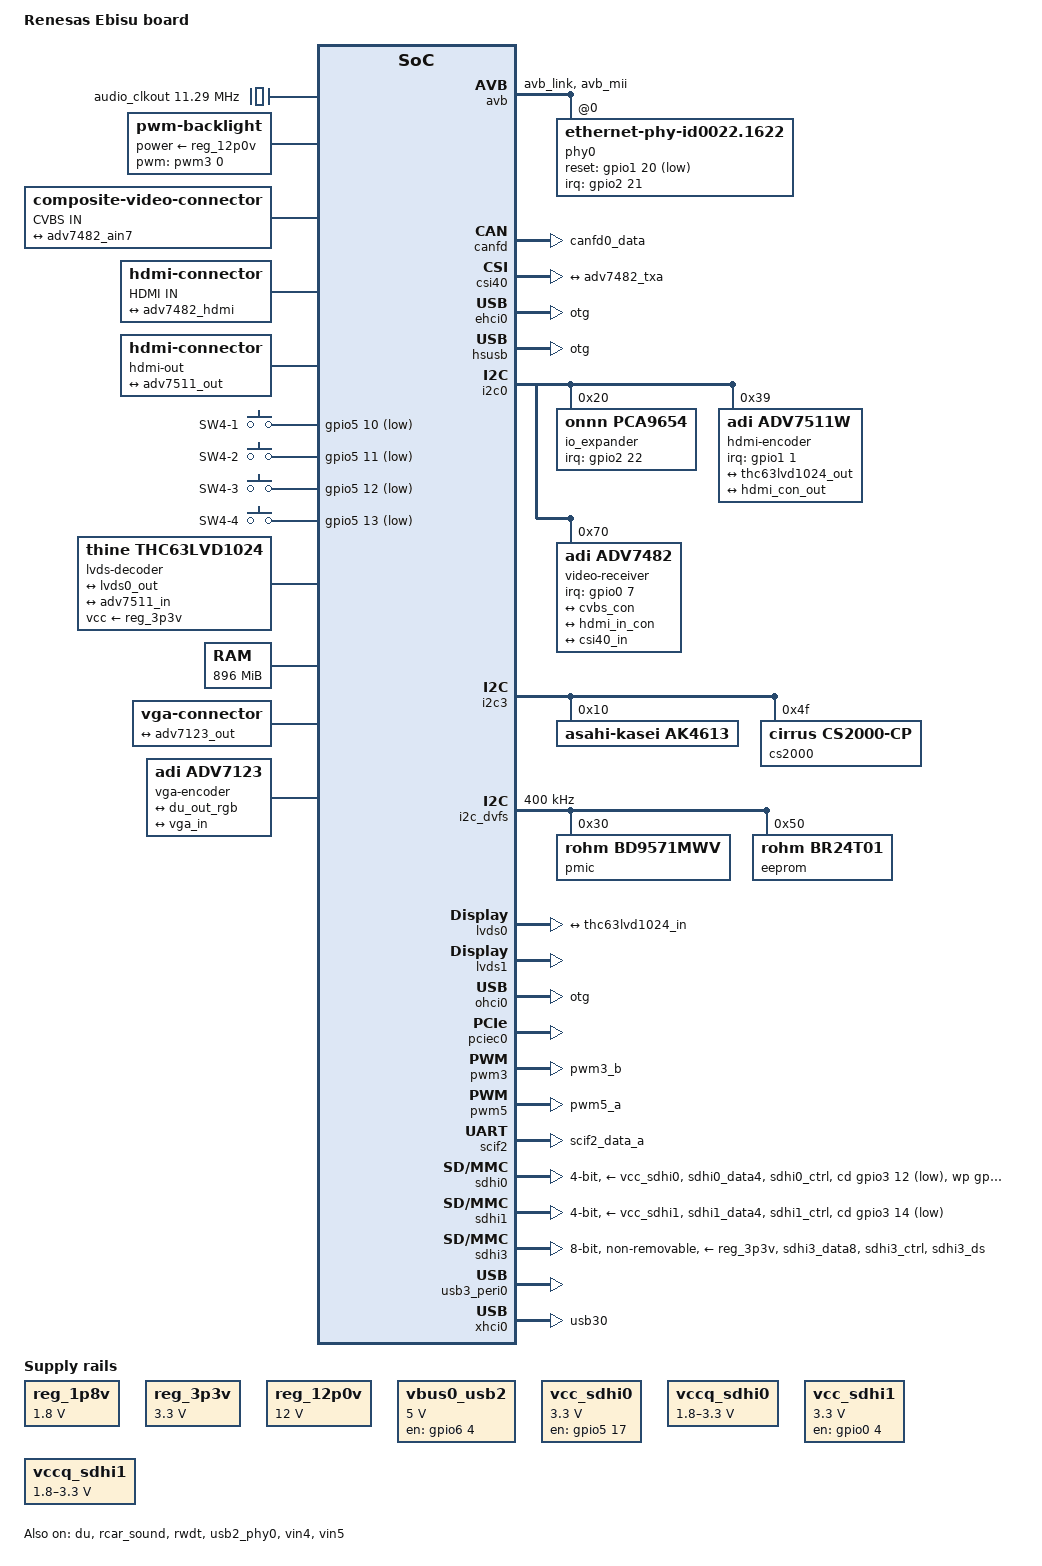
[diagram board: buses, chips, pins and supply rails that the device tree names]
// SPDX-License-Identifier: GPL-2.0
/*
 * Device Tree Source for the Ebisu board
 *
 * Copyright (C) 2018 Renesas Electronics Corp.
 */

#include <dt-bindings/gpio/gpio.h>
#include <dt-bindings/input/input.h>

/ {
	model = "Renesas Ebisu board";
	compatible = "renesas,ebisu";

	aliases {
		serial0 = &scif2;
		ethernet0 = &avb;
		mmc0 = &sdhi3;
		mmc1 = &sdhi0;
		mmc2 = &sdhi1;
	};

	chosen {
		bootargs = "ignore_loglevel rw root=/dev/nfs ip=on";
		stdout-path = "serial0:115200n8";
	};

	audio_clkout: audio-clkout {
		/*
		 * This is same as <&rcar_sound 0>
		 * but needed to avoid cs2000/rcar_sound probe dead-lock
		 */
		compatible = "fixed-clock";
		#clock-cells = <0>;
		clock-frequency = <11289600>;
	};

	backlight: backlight {
		compatible = "pwm-backlight";
		pwms = <&pwm3 0 50000>;

		brightness-levels = <512 511 505 494 473 440 392 327 241 133 0>;
		default-brightness-level = <10>;

		power-supply = <&reg_12p0v>;
	};

	cvbs-in {
		compatible = "composite-video-connector";
		label = "CVBS IN";

		port {
			cvbs_con: endpoint {
				remote-endpoint = <&adv7482_ain7>;
			};
		};
	};

	hdmi-in {
		compatible = "hdmi-connector";
		label = "HDMI IN";
		type = "a";

		port {
			hdmi_in_con: endpoint {
				remote-endpoint = <&adv7482_hdmi>;
			};
		};
	};

	hdmi-out {
		compatible = "hdmi-connector";
		type = "a";

		port {
			hdmi_con_out: endpoint {
				remote-endpoint = <&adv7511_out>;
			};
		};
	};

	keys {
		compatible = "gpio-keys";

		pinctrl-0 = <&keys_pins>;
		pinctrl-names = "default";

		key-1 {
			gpios = <&gpio5 10 GPIO_ACTIVE_LOW>;
			linux,code = <KEY_1>;
			label = "SW4-1";
			wakeup-source;
			debounce-interval = <20>;
		};
		key-2 {
			gpios = <&gpio5 11 GPIO_ACTIVE_LOW>;
			linux,code = <KEY_2>;
			label = "SW4-2";
			wakeup-source;
			debounce-interval = <20>;
		};
		key-3 {
			gpios = <&gpio5 12 GPIO_ACTIVE_LOW>;
			linux,code = <KEY_3>;
			label = "SW4-3";
			wakeup-source;
			debounce-interval = <20>;
		};
		key-4 {
			gpios = <&gpio5 13 GPIO_ACTIVE_LOW>;
			linux,code = <KEY_4>;
			label = "SW4-4";
			wakeup-source;
			debounce-interval = <20>;
		};
	};

	lvds-decoder {
		compatible = "thine,thc63lvd1024";
		vcc-supply = <&reg_3p3v>;

		ports {
			#address-cells = <1>;
			#size-cells = <0>;

			port@0 {
				reg = <0>;
				thc63lvd1024_in: endpoint {
					remote-endpoint = <&lvds0_out>;
				};
			};

			port@2 {
				reg = <2>;
				thc63lvd1024_out: endpoint {
					remote-endpoint = <&adv7511_in>;
				};
			};
		};
	};

	memory@48000000 {
		device_type = "memory";
		/* first 128MB is reserved for secure area. */
		reg = <0x0 0x48000000 0x0 0x38000000>;
	};

	reg_1p8v: regulator0 {
		compatible = "regulator-fixed";
		regulator-name = "fixed-1.8V";
		regulator-min-microvolt = <1800000>;
		regulator-max-microvolt = <1800000>;
		regulator-boot-on;
		regulator-always-on;
	};

	reg_3p3v: regulator1 {
		compatible = "regulator-fixed";
		regulator-name = "fixed-3.3V";
		regulator-min-microvolt = <3300000>;
		regulator-max-microvolt = <3300000>;
		regulator-boot-on;
		regulator-always-on;
	};

	reg_12p0v: regulator2 {
		compatible = "regulator-fixed";
		regulator-name = "D12.0V";
		regulator-min-microvolt = <12000000>;
		regulator-max-microvolt = <12000000>;
		regulator-boot-on;
		regulator-always-on;
	};

	rsnd_ak4613: sound {
		compatible = "simple-audio-card";

		simple-audio-card,name = "rsnd-ak4613";
		simple-audio-card,format = "left_j";
		simple-audio-card,bitclock-master = <&sndcpu>;
		simple-audio-card,frame-master = <&sndcpu>;

		sndcodec: simple-audio-card,codec {
			sound-dai = <&ak4613>;
		};

		sndcpu: simple-audio-card,cpu {
			sound-dai = <&rcar_sound>;
		};
	};

	vbus0_usb2: regulator-vbus0-usb2 {
		compatible = "regulator-fixed";

		regulator-name = "USB20_VBUS_CN";
		regulator-min-microvolt = <5000000>;
		regulator-max-microvolt = <5000000>;

		gpio = <&gpio6 4 GPIO_ACTIVE_HIGH>;
		enable-active-high;
	};

	vcc_sdhi0: regulator-vcc-sdhi0 {
		compatible = "regulator-fixed";

		regulator-name = "SDHI0 Vcc";
		regulator-min-microvolt = <3300000>;
		regulator-max-microvolt = <3300000>;

		gpio = <&gpio5 17 GPIO_ACTIVE_HIGH>;
		enable-active-high;
	};

	vccq_sdhi0: regulator-vccq-sdhi0 {
		compatible = "regulator-gpio";

		regulator-name = "SDHI0 VccQ";
		regulator-min-microvolt = <1800000>;
		regulator-max-microvolt = <3300000>;

		gpios = <&gpio5 18 GPIO_ACTIVE_HIGH>;
		gpios-states = <1>;
		states = <3300000 1>, <1800000 0>;
	};

	vcc_sdhi1: regulator-vcc-sdhi1 {
		compatible = "regulator-fixed";

		regulator-name = "SDHI1 Vcc";
		regulator-min-microvolt = <3300000>;
		regulator-max-microvolt = <3300000>;

		gpio = <&gpio0 4 GPIO_ACTIVE_HIGH>;
		enable-active-high;
	};

	vccq_sdhi1: regulator-vccq-sdhi1 {
		compatible = "regulator-gpio";

		regulator-name = "SDHI1 VccQ";
		regulator-min-microvolt = <1800000>;
		regulator-max-microvolt = <3300000>;

		gpios = <&gpio3 15 GPIO_ACTIVE_HIGH>;
		gpios-states = <1>;
		states = <3300000 1>, <1800000 0>;
	};

	vga {
		compatible = "vga-connector";

		port {
			vga_in: endpoint {
				remote-endpoint = <&adv7123_out>;
			};
		};
	};

	vga-encoder {
		compatible = "adi,adv7123";

		ports {
			#address-cells = <1>;
			#size-cells = <0>;

			port@0 {
				reg = <0>;
				adv7123_in: endpoint {
					remote-endpoint = <&du_out_rgb>;
				};
			};
			port@1 {
				reg = <1>;
				adv7123_out: endpoint {
					remote-endpoint = <&vga_in>;
				};
			};
		};
	};

	x12_clk: x12 {
		compatible = "fixed-clock";
		#clock-cells = <0>;
		clock-frequency = <24576000>;
	};

	x13_clk: x13 {
		compatible = "fixed-clock";
		#clock-cells = <0>;
		clock-frequency = <74250000>;
	};
};

&audio_clk_a {
	clock-frequency = <22579200>;
};

&avb {
	pinctrl-0 = <&avb_pins>;
	pinctrl-names = "default";
	phy-handle = <&phy0>;
	status = "okay";

	phy0: ethernet-phy@0 {
		compatible = "ethernet-phy-id0022.1622",
			     "ethernet-phy-ieee802.3-c22";
		rxc-skew-ps = <1500>;
		reg = <0>;
		interrupt-parent = <&gpio2>;
		interrupts = <21 IRQ_TYPE_LEVEL_LOW>;
		reset-gpios = <&gpio1 20 GPIO_ACTIVE_LOW>;
		/*
		 * TX clock internal delay mode is required for reliable
		 * 1Gbps communication using the KSZ9031RNX phy present on
		 * the Ebisu board, however, TX clock internal delay mode
		 * isn't supported on R-Car E3(e).  Thus, limit speed to
		 * 100Mbps for reliable communication.
		 */
		max-speed = <100>;
	};
};

&canfd {
	pinctrl-0 = <&canfd0_pins>;
	pinctrl-names = "default";
	status = "okay";

	channel0 {
		status = "okay";
	};
};

&csi40 {
	status = "okay";

	ports {
		port@0 {
			csi40_in: endpoint {
				clock-lanes = <0>;
				data-lanes = <1 2>;
				remote-endpoint = <&adv7482_txa>;
			};
		};
	};
};

&du {
	pinctrl-0 = <&du_pins>;
	pinctrl-names = "default";
	status = "okay";

	clocks = <&cpg CPG_MOD 724>,
		 <&cpg CPG_MOD 723>,
		 <&x13_clk>;
	clock-names = "du.0", "du.1", "dclkin.0";

	ports {
		port@0 {
			endpoint {
				remote-endpoint = <&adv7123_in>;
			};
		};
	};
};

&ehci0 {
	dr_mode = "otg";
	status = "okay";
};

&extal_clk {
	clock-frequency = <48000000>;
};

&hsusb {
	dr_mode = "otg";
	status = "okay";
};

&i2c0 {
	status = "okay";

	io_expander: gpio@20 {
		compatible = "onnn,pca9654";
		reg = <0x20>;
		gpio-controller;
		#gpio-cells = <2>;
		interrupt-parent = <&gpio2>;
		interrupts = <22 IRQ_TYPE_LEVEL_LOW>;
	};

	hdmi-encoder@39 {
		compatible = "adi,adv7511w";
		reg = <0x39>;
		interrupt-parent = <&gpio1>;
		interrupts = <1 IRQ_TYPE_LEVEL_LOW>;

		adi,input-depth = <8>;
		adi,input-colorspace = "rgb";
		adi,input-clock = "1x";

		ports {
			#address-cells = <1>;
			#size-cells = <0>;

			port@0 {
				reg = <0>;
				adv7511_in: endpoint {
					remote-endpoint = <&thc63lvd1024_out>;
				};
			};

			port@1 {
				reg = <1>;
				adv7511_out: endpoint {
					remote-endpoint = <&hdmi_con_out>;
				};
			};
		};
	};

	video-receiver@70 {
		compatible = "adi,adv7482";
		reg = <0x70>;

		interrupt-parent = <&gpio0>;
		interrupt-names = "intrq1", "intrq2";
		interrupts = <7 IRQ_TYPE_LEVEL_LOW>,
			     <17 IRQ_TYPE_LEVEL_LOW>;

		ports {
			#address-cells = <1>;
			#size-cells = <0>;

			port@7 {
				reg = <7>;

				adv7482_ain7: endpoint {
					remote-endpoint = <&cvbs_con>;
				};
			};

			port@8 {
				reg = <8>;

				adv7482_hdmi: endpoint {
					remote-endpoint = <&hdmi_in_con>;
				};
			};

			port@a {
				reg = <10>;

				adv7482_txa: endpoint {
					clock-lanes = <0>;
					data-lanes = <1 2>;
					remote-endpoint = <&csi40_in>;
				};
			};
		};
	};
};

&i2c3 {
	status = "okay";

	ak4613: codec@10 {
		compatible = "asahi-kasei,ak4613";
		#sound-dai-cells = <0>;
		reg = <0x10>;
		clocks = <&rcar_sound 3>;

		asahi-kasei,in1-single-end;
		asahi-kasei,in2-single-end;
		asahi-kasei,out1-single-end;
		asahi-kasei,out2-single-end;
		asahi-kasei,out3-single-end;
		asahi-kasei,out4-single-end;
		asahi-kasei,out5-single-end;
		asahi-kasei,out6-single-end;
	};

	cs2000: clk-multiplier@4f {
		#clock-cells = <0>;
		compatible = "cirrus,cs2000-cp";
		reg = <0x4f>;
		clocks = <&audio_clkout>, <&x12_clk>;
		clock-names = "clk_in", "ref_clk";

		assigned-clocks = <&cs2000>;
		assigned-clock-rates = <24576000>; /* 1/1 divide */
	};
};

&i2c_dvfs {
	status = "okay";

	clock-frequency = <400000>;

	pmic: pmic@30 {
		pinctrl-0 = <&irq0_pins>;
		pinctrl-names = "default";

		compatible = "rohm,bd9571mwv";
		reg = <0x30>;
		interrupt-parent = <&intc_ex>;
		interrupts = <0 IRQ_TYPE_LEVEL_LOW>;
		interrupt-controller;
		#interrupt-cells = <2>;
		gpio-controller;
		#gpio-cells = <2>;
		rohm,ddr-backup-power = <0x1>;
		rohm,rstbmode-level;
	};

	eeprom@50 {
		compatible = "rohm,br24t01", "atmel,24c01";
		reg = <0x50>;
		pagesize = <8>;
	};
};

&lvds0 {
	status = "okay";

	clocks = <&cpg CPG_MOD 727>,
		 <&x13_clk>,
		 <&extal_clk>;
	clock-names = "fck", "dclkin.0", "extal";

	ports {
		port@1 {
			lvds0_out: endpoint {
				remote-endpoint = <&thc63lvd1024_in>;
			};
		};
	};
};

&lvds1 {
	/*
	 * Even though the LVDS1 output is not connected, the encoder must be
	 * enabled to supply a pixel clock to the DU for the DPAD output when
	 * LVDS0 is in use.
	 */
	status = "okay";

	clocks = <&cpg CPG_MOD 727>,
		 <&x13_clk>,
		 <&extal_clk>;
	clock-names = "fck", "dclkin.0", "extal";
};

&ohci0 {
	dr_mode = "otg";
	status = "okay";
};

&pcie_bus_clk {
	clock-frequency = <100000000>;
};

&pciec0 {
	status = "okay";
};

&pfc {
	avb_pins: avb {
		groups = "avb_link", "avb_mii";
		function = "avb";
	};

	canfd0_pins: canfd0 {
		groups = "canfd0_data";
		function = "canfd0";
	};

	du_pins: du {
		groups = "du_rgb888", "du_sync", "du_disp", "du_clk_out_0";
		function = "du";
	};

	irq0_pins: irq0 {
		groups = "intc_ex_irq0";
		function = "intc_ex";
	};

	keys_pins: keys {
		pins = "GP_5_10", "GP_5_11", "GP_5_12", "GP_5_13";
		bias-pull-up;
	};

	pwm3_pins: pwm3 {
		groups = "pwm3_b";
		function = "pwm3";
	};

	pwm5_pins: pwm5 {
		groups = "pwm5_a";
		function = "pwm5";
	};

	scif2_pins: scif2 {
		groups = "scif2_data_a";
		function = "scif2";
	};

	sdhi0_pins: sd0 {
		groups = "sdhi0_data4", "sdhi0_ctrl";
		function = "sdhi0";
		power-source = <3300>;
	};

	sdhi0_pins_uhs: sd0_uhs {
		groups = "sdhi0_data4", "sdhi0_ctrl";
		function = "sdhi0";
		power-source = <1800>;
	};

	sdhi1_pins: sd1 {
		groups = "sdhi1_data4", "sdhi1_ctrl";
		function = "sdhi1";
		power-source = <3300>;
	};

	sdhi1_pins_uhs: sd1_uhs {
		groups = "sdhi1_data4", "sdhi1_ctrl";
		function = "sdhi1";
		power-source = <1800>;
	};

	sdhi3_pins: sd3 {
		groups = "sdhi3_data8", "sdhi3_ctrl", "sdhi3_ds";
		function = "sdhi3";
		power-source = <1800>;
	};

	sound_clk_pins: sound_clk {
		groups = "audio_clk_a", "audio_clk_b_a", "audio_clk_c_a",
			 "audio_clkout_a", "audio_clkout1_a";
		function = "audio_clk";
	};

	sound_pins: sound {
		groups = "ssi01239_ctrl", "ssi0_data", "ssi1_data";
		function = "ssi";
	};

	usb0_pins: usb {
		groups = "usb0_b", "usb0_id";
		function = "usb0";
	};

	usb30_pins: usb30 {
		groups = "usb30";
		function = "usb30";
	};
};

&pwm3 {
	pinctrl-0 = <&pwm3_pins>;
	pinctrl-names = "default";

	status = "okay";
};

&pwm5 {
	pinctrl-0 = <&pwm5_pins>;
	pinctrl-names = "default";

	status = "okay";
};

&rcar_sound {
	pinctrl-0 = <&sound_pins>, <&sound_clk_pins>;
	pinctrl-names = "default";

	/* Single DAI */
	#sound-dai-cells = <0>;

	/* audio_clkout0/1/2/3 */
	#clock-cells = <1>;
	clock-frequency = <12288000 11289600>;

	status = "okay";

	/* update <audio_clk_b> to <cs2000> */
	clocks = <&cpg CPG_MOD 1005>,
		 <&cpg CPG_MOD 1006>, <&cpg CPG_MOD 1007>,
		 <&cpg CPG_MOD 1008>, <&cpg CPG_MOD 1009>,
		 <&cpg CPG_MOD 1010>, <&cpg CPG_MOD 1011>,
		 <&cpg CPG_MOD 1012>, <&cpg CPG_MOD 1013>,
		 <&cpg CPG_MOD 1014>, <&cpg CPG_MOD 1015>,
		 <&cpg CPG_MOD 1022>, <&cpg CPG_MOD 1023>,
		 <&cpg CPG_MOD 1024>, <&cpg CPG_MOD 1025>,
		 <&cpg CPG_MOD 1026>, <&cpg CPG_MOD 1027>,
		 <&cpg CPG_MOD 1028>, <&cpg CPG_MOD 1029>,
		 <&cpg CPG_MOD 1030>, <&cpg CPG_MOD 1031>,
		 <&cpg CPG_MOD 1020>, <&cpg CPG_MOD 1021>,
		 <&cpg CPG_MOD 1020>, <&cpg CPG_MOD 1021>,
		 <&cpg CPG_MOD 1019>, <&cpg CPG_MOD 1018>,
		 <&audio_clk_a>, <&cs2000>, <&audio_clk_c>,
		 <&cpg CPG_CORE R8A77990_CLK_ZA2>;

	rcar_sound,dai {
		dai0 {
			playback = <&ssi0>, <&src0>, <&dvc0>;
			capture  = <&ssi1>, <&src1>, <&dvc1>;
		};
	};

};

&rwdt {
	timeout-sec = <60>;
	status = "okay";
};

&scif2 {
	pinctrl-0 = <&scif2_pins>;
	pinctrl-names = "default";

	status = "okay";
};

&sdhi0 {
	pinctrl-0 = <&sdhi0_pins>;
	pinctrl-1 = <&sdhi0_pins_uhs>;
	pinctrl-names = "default", "state_uhs";

	vmmc-supply = <&vcc_sdhi0>;
	vqmmc-supply = <&vccq_sdhi0>;
	cd-gpios = <&gpio3 12 GPIO_ACTIVE_LOW>;
	wp-gpios = <&gpio3 13 GPIO_ACTIVE_HIGH>;
	bus-width = <4>;
	sd-uhs-sdr50;
	sd-uhs-sdr104;
	status = "okay";
};

&sdhi1 {
	pinctrl-0 = <&sdhi1_pins>;
	pinctrl-1 = <&sdhi1_pins_uhs>;
	pinctrl-names = "default", "state_uhs";

	vmmc-supply = <&vcc_sdhi1>;
	vqmmc-supply = <&vccq_sdhi1>;
	cd-gpios = <&gpio3 14 GPIO_ACTIVE_LOW>;
	bus-width = <4>;
	sd-uhs-sdr50;
	sd-uhs-sdr104;
	status = "okay";
};

&sdhi3 {
	/* used for on-board 8bit eMMC */
	pinctrl-0 = <&sdhi3_pins>;
	pinctrl-1 = <&sdhi3_pins>;
	pinctrl-names = "default", "state_uhs";

	vmmc-supply = <&reg_3p3v>;
	vqmmc-supply = <&reg_1p8v>;
	mmc-hs200-1_8v;
	mmc-hs400-1_8v;
	bus-width = <8>;
	no-sd;
	no-sdio;
	non-removable;
	full-pwr-cycle-in-suspend;
	status = "okay";
};

&ssi1 {
	shared-pin;
};

&usb2_phy0 {
	pinctrl-0 = <&usb0_pins>;
	pinctrl-names = "default";

	vbus-supply = <&vbus0_usb2>;
	status = "okay";
};

&usb3_peri0 {
	companion = <&xhci0>;
	status = "okay";
};

&vin4 {
	status = "okay";
};

&vin5 {
	status = "okay";
};

&xhci0 {
	pinctrl-0 = <&usb30_pins>;
	pinctrl-names = "default";

	status = "okay";
};
